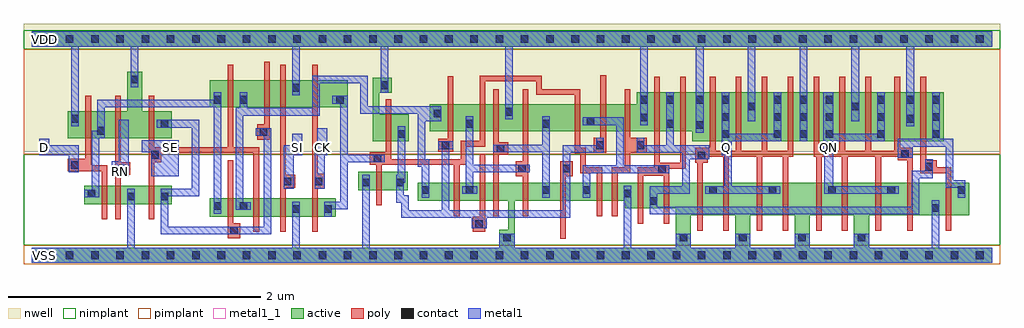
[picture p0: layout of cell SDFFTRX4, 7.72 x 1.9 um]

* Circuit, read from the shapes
.subckt SDFFTRX4 CK D Q QN RN SE SI VDD VSS
M1 n1 D n2 VSS nfet w=0.145u l=0.045u
M2 VSS RN n1 VSS nfet w=0.145u l=0.045u
M3 n3 SE VSS VSS nfet w=0.145u l=0.045u
M4 n4 n3 n2 VSS nfet w=0.145u l=0.045u
M5 n5 SE n4 VSS nfet w=0.145u l=0.045u
M6 VSS SI n5 VSS nfet w=0.145u l=0.045u
M7 n6 CK VSS VSS nfet w=0.145u l=0.045u
M8 n7 n6 VSS VSS nfet w=0.145u l=0.045u
M9 n8 n6 n4 VSS nfet w=0.145u l=0.045u
M10 n9 n7 n8 VSS nfet w=0.145u l=0.045u
M11 VSS n10 n9 VSS nfet w=0.145u l=0.045u
M12 n10 n8 VSS VSS nfet w=0.145u l=0.045u
M13 n11 n7 n10 VSS nfet w=0.145u l=0.045u
M14 n12 n6 n11 VSS nfet w=0.145u l=0.045u
M15 VSS n13 n12 VSS nfet w=0.145u l=0.045u
M16 n13 n11 VSS VSS nfet w=0.205u l=0.045u m=2
M17 Q n13 VSS VSS nfet w=0.26u l=0.045u m=4
M18 QN n14 VSS VSS nfet w=0.26u l=0.045u m=4
M19 n14 n13 VSS VSS nfet w=0.26u l=0.045u
M20 n2 D VDD VDD pfet w=0.215u l=0.045u
M21 VDD RN n2 VDD pfet w=0.215u l=0.045u
M22 n3 SE VDD VDD pfet w=0.215u l=0.045u
M23 n4 SE n2 VDD pfet w=0.215u l=0.045u
M24 n15 n3 n4 VDD pfet w=0.215u l=0.045u
M25 VDD SI n15 VDD pfet w=0.215u l=0.045u
M26 n6 CK VDD VDD pfet w=0.215u l=0.045u
M27 n7 n6 VDD VDD pfet w=0.215u l=0.045u
M28 n8 n7 n4 VDD pfet w=0.215u l=0.045u
M29 n16 n6 n8 VDD pfet w=0.215u l=0.045u
M30 VDD n10 n16 VDD pfet w=0.215u l=0.045u
M31 n10 n8 VDD VDD pfet w=0.215u l=0.045u
M32 n11 n6 n10 VDD pfet w=0.215u l=0.045u
M33 n17 n7 n11 VDD pfet w=0.215u l=0.045u
M34 VDD n13 n17 VDD pfet w=0.215u l=0.045u
M35 n13 n11 VDD VDD pfet w=0.31u l=0.045u m=2
M36 Q n13 VDD VDD pfet w=0.39u l=0.045u m=4
M37 QN n14 VDD VDD pfet w=0.39u l=0.045u m=4
M38 n14 n13 VDD VDD pfet w=0.39u l=0.045u
.ends

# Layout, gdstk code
import gdstk
lib = gdstk.Library(unit=1e-6, precision=5e-10)
def R(c, l, rs):  # rectangles x0, y0, x1, y1
    for r in rs: c.add(gdstk.rectangle(r[:2], r[2:], *l))
def A(c, l, x, y, w, h, nx, ny, dx, dy):  # array of equal rectangles
    R(c, l, [(x+i*dx, y+j*dy, x+i*dx+w, y+j*dy+h) for i in range(nx) for j in range(ny)])
def P(c, l, *ps):  # polygons
    for p in ps: c.add(gdstk.Polygon(p, *l))
active = (1, 0)
nwell = (2, 0)
poly = (3, 0)
nimplant = (4, 0)
pimplant = (5, 0)
contact = (6, 0)
metal1 = (7, 0)
metal1_1 = (7, 1)

sdfftrx4 = lib.new_cell('SDFFTRX4')
R(sdfftrx4, active, [(1.41,0.305,2.405,0.45), (0.415,0.405,1.11,0.55), (2.585,0.515,2.975,0.66), (1.41,1.17,2.5,1.385), (0,1.65,7.6,1.77)])
P(sdfftrx4, active, [(0.755,1.45),(0.875,1.45),(0.875,1.14),(1.11,1.14),(1.11,0.925),(0.285,0.925),(0.285,1.14),(0.755,1.14)],
  [(2.7,1.405),(2.85,1.405),(2.85,1.285),(2.75,1.285),(2.75,1.115),(2.985,1.115),(2.985,0.9),(2.7,0.9)],
  [(4.785,1.29),(7.215,1.29),(7.215,0.9),(5.225,0.9),(5.225,0.98),(3.15,0.98),(3.15,1.195),(4.785,1.195)],
  [(3.055,0.575),(7.415,0.575),(7.415,0.315),(6.625,0.315),(6.625,0.06),(7.6,0.06),(7.6,-0.06),(0,-0.06),(0,0.06),(3.7,0.06),(3.7,0.2),(3.77,0.2),(3.77,0.43),(3.82,0.43),(3.82,0.06),(5.095,0.06),(5.095,0.315),(5.215,0.315),(5.215,0.06),(5.565,0.06),(5.565,0.315),(5.685,0.315),(5.685,0.06),(6.035,0.06),(6.035,0.315),(6.155,0.315),(6.155,0.06),(6.505,0.06),(6.505,0.315),(5.095,0.315),(5.095,0.37),(4.695,0.37),(4.695,0.43),(3.055,0.43)])
R(sdfftrx4, nwell, [(-0.06,0.82,7.66,1.83)])
P(sdfftrx4, poly, [(0.925,1.26),(0.97,1.26),(0.97,0.855),(1.55,0.855),(1.55,1.505),(1.595,1.505),(1.595,0.855),(1.8,0.855),(1.8,0.185),(1.755,0.185),(1.755,0.81),(1.025,0.81),(1.025,0.735),(0.97,0.735),(0.97,0.285),(0.925,0.285)],
  [(1.84,1.53),(1.885,1.53),(1.885,0.915),(1.785,0.915),(1.785,1.035),(1.84,1.035)],
  [(1.965,1.505),(2.01,1.505),(2.01,0.635),(2.085,0.635),(2.085,0.535),(2.01,0.535),(2.01,0.185),(1.965,0.185)],
  [(2.22,1.505),(2.265,1.505),(2.265,0.645),(2.32,0.645),(2.32,0.525),(2.265,0.525),(2.265,0.185),(2.22,0.185)],
  [(3.545,1.42),(4.035,1.42),(4.035,1.315),(4.34,1.315),(4.34,0.85),(4.385,0.85),(4.385,0.695),(4.515,0.695),(4.515,0.31),(4.47,0.31),(4.47,0.65),(4.34,0.65),(4.34,0.805),(4.295,0.805),(4.295,1.27),(3.99,1.27),(3.99,1.375),(3.59,1.375),(3.59,0.86),(3.44,0.86),(3.44,0.715),(3.385,0.715),(3.385,0.31),(3.34,0.31),(3.34,0.715),(2.77,0.715),(2.77,0.395),(2.725,0.395),(2.725,0.715),(2.675,0.715),(2.675,0.815),(2.8,0.815),(2.8,1.235),(2.845,1.235),(2.845,0.76),(3.395,0.76),(3.395,0.905),(3.545,0.905)],
  [(0.425,1.26),(0.47,1.26),(0.47,0.71),(0.6,0.71),(0.6,0.285),(0.555,0.285),(0.555,0.665),(0.285,0.665),(0.285,0.765),(0.425,0.765)],
  [(0.66,1.26),(0.705,1.26),(0.705,0.735),(0.78,0.735),(0.78,0.635),(0.705,0.635),(0.705,0.285),(0.66,0.285)],
  [(3.29,1.415),(3.335,1.415),(3.335,0.82),(3.215,0.82),(3.215,0.92),(3.29,0.92)],
  [(3.65,1.315),(3.695,1.315),(3.695,0.895),(3.77,0.895),(3.77,0.795),(3.695,0.795),(3.695,0.31),(3.65,0.31)],
  [(3.885,1.315),(3.93,1.315),(3.93,0.31),(3.885,0.31),(3.885,0.625),(3.83,0.625),(3.83,0.745),(3.885,0.745)],
  [(4.5,1.425),(4.545,1.425),(4.545,0.81),(4.445,0.81),(4.445,0.93),(4.5,0.93)],
  [(4.69,1.315),(4.735,1.315),(4.735,0.93),(4.865,0.93),(4.865,0.81),(4.735,0.81),(4.735,0.65),(4.635,0.65),(4.635,0.31),(4.59,0.31),(4.59,0.695),(4.69,0.695)],
  [(4.925,1.41),(4.97,1.41),(4.97,0.73),(5.13,0.73),(5.13,1.41),(5.175,1.41),(5.175,0.685),(5.045,0.685),(5.045,0.25),(5,0.25),(5,0.63),(4.84,0.63),(4.84,0.25),(4.795,0.25),(4.795,0.695),(4.925,0.695)],
  [(5.365,1.41),(5.41,1.41),(5.41,0.825),(5.57,0.825),(5.57,1.41),(5.615,1.41),(5.615,0.825),(5.775,0.825),(5.775,1.41),(5.82,1.41),(5.82,0.825),(5.98,0.825),(5.98,1.41),(6.025,1.41),(6.025,0.78),(5.985,0.78),(5.985,0.195),(5.94,0.195),(5.94,0.78),(5.78,0.78),(5.78,0.195),(5.735,0.195),(5.735,0.78),(5.515,0.78),(5.515,0.195),(5.47,0.195),(5.47,0.78),(5.35,0.78),(5.35,0.73),(5.31,0.73),(5.31,0.195),(5.265,0.195),(5.265,0.73),(5.25,0.73),(5.25,0.85),(5.365,0.85)],
  [(6.185,1.41),(6.23,1.41),(6.23,0.825),(6.39,0.825),(6.39,1.41),(6.435,1.41),(6.435,0.825),(6.595,0.825),(6.595,1.41),(6.64,1.41),(6.64,0.825),(6.825,0.825),(6.825,1.41),(6.87,1.41),(6.87,0.85),(6.97,0.85),(6.97,0.195),(6.925,0.195),(6.925,0.75),(6.85,0.75),(6.85,0.78),(6.72,0.78),(6.72,0.195),(6.675,0.195),(6.675,0.78),(6.455,0.78),(6.455,0.195),(6.41,0.195),(6.41,0.78),(6.25,0.78),(6.25,0.195),(6.205,0.195),(6.205,0.78),(6.185,0.78)],
  [(7.03,1.41),(7.075,1.41),(7.075,0.75),(7.16,0.75),(7.16,0.695),(7.275,0.695),(7.275,0.195),(7.23,0.195),(7.23,0.65),(7.03,0.65)],
  [(4.18,0.745),(4.28,0.745),(4.28,0.625),(4.225,0.625),(4.225,0.13),(4.18,0.13)],
  [(1.55,0.75),(1.595,0.75),(1.595,0.255),(1.65,0.255),(1.65,0.135),(1.55,0.135)],
  [(3.545,0.8),(3.59,0.8),(3.59,0.185),(3.49,0.185),(3.49,0.305),(3.545,0.305)])
R(sdfftrx4, nimplant, [(-0.06,0.08,7.66,0.8), (-0.06,1.63,7.66,1.78)])
R(sdfftrx4, pimplant, [(-0.06,-0.07,7.66,0.08), (-0.06,0.8,7.66,1.63)])
A(sdfftrx4, contact, 0.07, -0.03, 0.06, 0.06, 38, 2, 0.2, 1.71)
A(sdfftrx4, contact, 5.125, 0.11, 0.06, 0.06, 4, 1, 0.47, 0)
A(sdfftrx4, contact, 5.36, 0.485, 0.06, 0.06, 4, 1, 0.47, 0)
A(sdfftrx4, contact, 5.46, 0.93, 0.06, 0.06, 1, 3, 0, 0.135)
A(sdfftrx4, contact, 5.87, 0.93, 0.06, 0.06, 3, 3, 0.205, 0.135)
A(sdfftrx4, contact, 6.69, 0.93, 0.06, 0.06, 1, 3, 0, 0.135)
A(sdfftrx4, contact, 7.125, 0.93, 0.06, 0.06, 1, 3, 0, 0.135)
R(sdfftrx4, contact, [(3.73,0.11,3.79,0.17), (1.57,0.165,1.63,0.225), (3.51,0.215,3.57,0.275), (2.06,0.335,2.12,0.395), (2.315,0.335,2.375,0.395), (7.12,0.345,7.18,0.405), (1.44,0.36,1.5,0.42), (1.645,0.36,1.705,0.42), (4.89,0.4,4.95,0.46), (0.755,0.435,0.815,0.495), (1.02,0.435,1.08,0.495), (0.445,0.46,0.505,0.52), (4.685,0.46,4.745,0.52), (3.085,0.485,3.145,0.545), (3.435,0.485,3.495,0.545), (4.04,0.485,4.1,0.545), (4.36,0.485,4.42,0.545), (7.325,0.485,7.385,0.545), (2.615,0.545,2.675,0.605), (2.885,0.545,2.945,0.605), (1.995,0.555,2.055,0.615), (2.24,0.555,2.3,0.615), (4.955,0.65,5.015,0.71), (0.69,0.655,0.75,0.715), (3.85,0.655,3.91,0.715), (4.2,0.655,4.26,0.715), (7.07,0.67,7.13,0.73), (0.315,0.685,0.375,0.745), (2.705,0.735,2.765,0.795), (5.27,0.76,5.33,0.82), (0.945,0.765,1.005,0.825), (6.88,0.77,6.94,0.83), (3.68,0.815,3.74,0.875), (3.245,0.84,3.305,0.9), (4.465,0.84,4.525,0.9), (4.785,0.84,4.845,0.9), (2.895,0.93,2.955,0.99), (1.805,0.945,1.865,1.005), (0.52,0.955,0.58,1.015), (5.255,1,5.315,1.06), (1.02,1.01,1.08,1.07), (3.435,1.01,3.495,1.07), (4.04,1.01,4.1,1.07), (5.02,1.01,5.08,1.07), (4.39,1.03,4.45,1.09), (0.315,1.05,0.375,1.11), (6.92,1.05,6.98,1.11), (4.815,1.06,4.875,1.12), (3.18,1.09,3.24,1.15), (3.745,1.105,3.805,1.165), (5.665,1.145,5.725,1.205), (6.485,1.145,6.545,1.205), (1.44,1.2,1.5,1.26), (1.645,1.2,1.705,1.26), (2.41,1.2,2.47,1.26), (4.815,1.2,4.875,1.26), (5.02,1.2,5.08,1.26), (5.255,1.2,5.315,1.26), (6.92,1.2,6.98,1.26), (2.06,1.295,2.12,1.355), (2.76,1.315,2.82,1.375), (0.785,1.36,0.845,1.42)])
P(sdfftrx4, metal1, [(0,1.77),(7.6,1.77),(7.6,1.65),(6.98,1.65),(6.98,1.02),(6.92,1.02),(6.92,1.65),(6.545,1.65),(6.545,1.06),(6.485,1.06),(6.485,1.65),(6.135,1.65),(6.135,0.9),(6.075,0.9),(6.075,1.65),(5.725,1.65),(5.725,1.06),(5.665,1.06),(5.665,1.65),(5.315,1.65),(5.315,0.97),(5.255,0.97),(5.255,1.65),(4.875,1.65),(4.875,1.03),(4.815,1.03),(4.815,1.65),(3.805,1.65),(3.805,1.075),(3.745,1.075),(3.745,1.65),(2.82,1.65),(2.82,1.285),(2.76,1.285),(2.76,1.65),(2.12,1.65),(2.12,1.265),(2.06,1.265),(2.06,1.65),(0.845,1.65),(0.845,1.33),(0.785,1.33),(0.785,1.65),(0.375,1.65),(0.375,1.02),(0.315,1.02),(0.315,1.65),(0,1.65)],
  [(1.44,1.29),(1.5,1.29),(1.5,0.33),(1.44,0.33),(1.44,1.17),(0.58,1.17),(0.58,0.925),(0.535,0.925),(0.535,0.46),(0.415,0.46),(0.415,0.52),(0.475,0.52),(0.475,0.985),(0.52,0.985),(0.52,1.23),(1.44,1.23)],
  [(2.22,1.42),(2.66,1.42),(2.66,1.18),(3.24,1.18),(3.24,1.06),(3.115,1.06),(3.115,0.76),(3.145,0.76),(3.145,0.455),(3.085,0.455),(3.085,0.7),(3.055,0.7),(3.055,1.12),(2.6,1.12),(2.6,1.36),(2.28,1.36),(2.28,1.105),(1.675,1.105),(1.675,0.42),(1.735,0.42),(1.735,0.36),(1.615,0.36),(1.615,1.165),(1.645,1.165),(1.645,1.29),(1.705,1.29),(1.705,1.165),(2.22,1.165)],
  [(0.99,1.07),(1.325,1.07),(1.325,0.465),(1.08,0.465),(1.08,0.225),(1.835,0.225),(1.835,0.945),(1.775,0.945),(1.775,1.005),(1.895,1.005),(1.895,0.165),(1.02,0.165),(1.02,0.525),(1.265,0.525),(1.265,1.01),(0.99,1.01)],
  [(0.06,0.92),(0.14,0.92),(0.14,0.87),(0.375,0.87),(0.375,0.655),(0.295,0.655),(0.295,0.79),(0.06,0.79)],
  [(0.69,1.07),(0.77,1.07),(0.77,0.625),(0.635,0.625),(0.635,0.745),(0.69,0.745)],
  [(0.87,0.91),(1.165,0.91),(1.165,0.625),(0.945,0.625),(0.945,0.815),(0.87,0.815)],
  [(0.755,0.525),(0.815,0.525),(0.815,0.06),(2.06,0.06),(2.06,0.425),(2.12,0.425),(2.12,0.06),(2.615,0.06),(2.615,0.635),(2.675,0.635),(2.675,0.06),(3.7,0.06),(3.7,0.17),(3.82,0.17),(3.82,0.06),(4.685,0.06),(4.685,0.55),(4.745,0.55),(4.745,0.06),(5.095,0.06),(5.095,0.17),(5.215,0.17),(5.215,0.06),(5.565,0.06),(5.565,0.17),(5.685,0.17),(5.685,0.06),(6.035,0.06),(6.035,0.17),(6.155,0.17),(6.155,0.06),(6.505,0.06),(6.505,0.17),(6.625,0.17),(6.625,0.06),(7.12,0.06),(7.12,0.435),(7.18,0.435),(7.18,0.06),(7.6,0.06),(7.6,-0.06),(0,-0.06),(0,0.06),(0.755,0.06)],
  [(2.38,1.26),(2.5,1.26),(2.5,0.795),(2.795,0.795),(2.795,0.735),(2.5,0.735),(2.5,0.365),(2.375,0.365),(2.375,0.305),(2.315,0.305),(2.315,0.425),(2.44,0.425),(2.44,1.2),(2.38,1.2)],
  [(2.06,0.96),(2.14,0.96),(2.14,0.79),(2.075,0.79),(2.075,0.525),(1.995,0.525),(1.995,0.87),(2.06,0.87)],
  [(2.26,1.005),(2.34,1.005),(2.34,0.79),(2.32,0.79),(2.32,0.525),(2.24,0.525),(2.24,0.87),(2.26,0.87)],
  [(3.435,1.1),(3.495,1.1),(3.495,0.715),(3.94,0.715),(3.94,0.655),(3.495,0.655),(3.495,0.545),(3.525,0.545),(3.525,0.485),(3.405,0.485),(3.405,0.545),(3.435,0.545)],
  [(4.04,1.1),(4.1,1.1),(4.1,0.455),(4.04,0.455),(4.04,0.815),(3.65,0.815),(3.65,0.875),(4.04,0.875)],
  [(2.895,1.02),(2.955,1.02),(2.955,0.575),(2.945,0.575),(2.945,0.475),(2.985,0.475),(2.985,0.355),(3.245,0.355),(3.245,0.84),(3.215,0.84),(3.215,0.9),(3.335,0.9),(3.335,0.84),(3.305,0.84),(3.305,0.355),(4.2,0.355),(4.2,0.87),(4.465,0.87),(4.465,0.93),(4.525,0.93),(4.525,0.81),(4.26,0.81),(4.26,0.295),(3.6,0.295),(3.6,0.215),(3.48,0.215),(3.48,0.295),(2.925,0.295),(2.925,0.415),(2.885,0.415),(2.885,0.635),(2.895,0.635)],
  [(4.36,1.09),(4.685,1.09),(4.685,0.71),(5.045,0.71),(5.045,0.65),(4.42,0.65),(4.42,0.455),(4.36,0.455),(4.36,0.71),(4.625,0.71),(4.625,1.03),(4.36,1.03)],
  [(4.785,0.93),(4.845,0.93),(4.845,0.87),(5.02,0.87),(5.02,1.29),(5.08,1.29),(5.08,0.87),(5.36,0.87),(5.36,0.76),(5.205,0.76),(5.205,0.485),(4.95,0.485),(4.95,0.385),(6.96,0.385),(6.96,0.67),(7.07,0.67),(7.07,0.76),(7.13,0.76),(7.13,0.61),(7.02,0.61),(7.02,0.325),(4.89,0.325),(4.89,0.545),(5.145,0.545),(5.145,0.81),(4.785,0.81)],
  [(5.46,1.29),(5.52,1.29),(5.52,0.96),(5.87,0.96),(5.87,1.29),(5.93,1.29),(5.93,0.9),(5.54,0.9),(5.54,0.545),(5.92,0.545),(5.92,0.485),(5.33,0.485),(5.33,0.545),(5.48,0.545),(5.48,0.79),(5.46,0.79)],
  [(6.26,1.29),(6.34,1.29),(6.34,0.96),(6.69,0.96),(6.69,1.29),(6.75,1.29),(6.75,0.9),(6.34,0.9),(6.34,0.545),(6.86,0.545),(6.86,0.485),(6.27,0.485),(6.27,0.79),(6.26,0.79)],
  [(7.125,1.29),(7.185,1.29),(7.185,0.92),(7.29,0.92),(7.29,0.595),(7.385,0.595),(7.385,0.455),(7.325,0.455),(7.325,0.535),(7.23,0.535),(7.23,0.86),(6.97,0.86),(6.97,0.77),(6.85,0.77),(6.85,0.92),(7.125,0.92)])
A(sdfftrx4, metal1_1, 0.06, 0.815, 0.08, 0.08, 3, 1, 1, 0)
R(sdfftrx4, metal1_1, [(0.06,-0.04,0.14,0.04), (0.66,0.625,0.74,0.705), (2.26,0.815,2.34,0.895), (5.46,0.815,5.54,0.895), (6.26,0.815,6.34,0.895), (0.06,1.67,0.14,1.75)])
sdfftrx4.add(gdstk.Label('QN', (6.3,0.855), layer=7, texttype=1))
sdfftrx4.add(gdstk.Label('Q', (5.5,0.855), layer=7, texttype=1))
sdfftrx4.add(gdstk.Label('CK', (2.3,0.855), layer=7, texttype=1))
sdfftrx4.add(gdstk.Label('SI', (2.1,0.855), layer=7, texttype=1))
sdfftrx4.add(gdstk.Label('SE', (1.1,0.855), layer=7, texttype=1))
sdfftrx4.add(gdstk.Label('RN', (0.7,0.665), layer=7, texttype=1))
sdfftrx4.add(gdstk.Label('D', (0.1,0.855), layer=7, texttype=1))
sdfftrx4.add(gdstk.Label('VDD', (0.1,1.71), layer=7, texttype=1))
sdfftrx4.add(gdstk.Label('VSS', (0.1,0), layer=7, texttype=1))
sdfftrx4.add(gdstk.Label('SDFFTRX4', (0,0), layer=63, texttype=0))

lib.write_gds('SDFFTRX4.gds')
